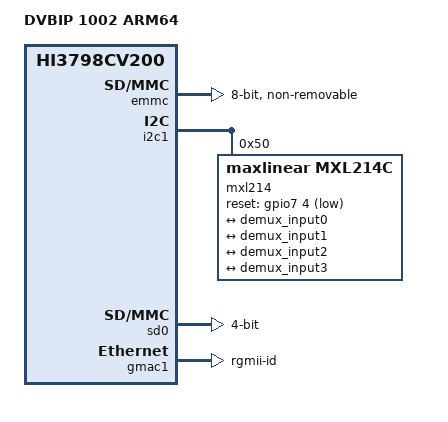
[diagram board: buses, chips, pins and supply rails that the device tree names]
// SPDX-License-Identifier: GPL-2.0-only
/*
 * Device Tree Source for HiSilicon Hi3798CV200 DVBIP-1002 board.
 *
 * Copyright (c) 2026 HiSilicon Technologies Co., Ltd.
 */

/dts-v1/;

#include "hi3798cv200-dvbip.dtsi"

/ {
	model = "DVBIP 1002 ARM64";
	compatible = "dvbip,1002", "hisilicon,hi3798cv200";

	aliases {
		mmc1 = &sd0;
	};

	chosen {
		bootargs = "console=tty0 console=ttyAMA0,115200n8 earlycon=pl011,mmio32,0xf8b00000,115200n8 root=/dev/mmcblk0p5 rootfstype=ext4 rootwait rw blkdevparts=mmcblk0:4M(fastboot),4M(bootargs),4M(hwconfig),16M(kernel),-(rootfs) mem=2G loglevel=7 clk_ignore_unused fw_devlink=off dvbip.model=1002";
		stdout-path = "serial0:115200n8";
	};


	ip1002_cpu_opp_table: opp-table-cpu {
		compatible = "operating-points-v2";
		opp-shared;

		opp-400000000 {
			opp-hz = /bits/ 64 <400000000>;
			/* Safe transition voltage, board floor, safety ceiling. */
			opp-microvolt = <1000000 840000 1000000>;
			clock-latency-ns = <110000000>;
		};

		opp-600000000 {
			opp-hz = /bits/ 64 <600000000>;
			opp-microvolt = <1000000 840000 1000000>;
			clock-latency-ns = <110000000>;
		};

		opp-800000000 {
			opp-hz = /bits/ 64 <800000000>;
			opp-microvolt = <1000000 805000 1000000>;
			clock-latency-ns = <110000000>;
		};

		opp-1200000000 {
			opp-hz = /bits/ 64 <1200000000>;
			opp-microvolt = <1050000 900000 1050000>;
			clock-latency-ns = <110000000>;
		};
	};

};

&soc {
	cpu-avs@8a23078 {
		compatible = "hisilicon,hi3798cv200-avs";
		reg = <0x8a23078 0x10>, <0x8a23368 0x4>;
		reg-names = "hpm", "control";
		hisilicon,hpm-targets = <400000000 0xc9 0>,
					 <600000000 0xc9 0>,
					 <800000000 0xe5 1>,
					 <1200000000 0x110 1>;
	};
};

&cpu0 {
	cpu-supply = <&vdd_cpu>;
	operating-points-v2 = <&ip1002_cpu_opp_table>;
	#cooling-cells = <2>;
};

&cpu1 {
	cpu-supply = <&vdd_cpu>;
	operating-points-v2 = <&ip1002_cpu_opp_table>;
};

&cpu2 {
	cpu-supply = <&vdd_cpu>;
	operating-points-v2 = <&ip1002_cpu_opp_table>;
};

&cpu3 {
	cpu-supply = <&vdd_cpu>;
	operating-points-v2 = <&ip1002_cpu_opp_table>;
};

&dvbip_cooling_maps {
	map-cpu {
		trip = <&soc_passive>;
		cooling-device = <&cpu0 THERMAL_NO_LIMIT THERMAL_NO_LIMIT>;
	};
};

&dvbip_sound {
	simple-audio-card,name = "DVBIP-1002";
};

&sci0 {
	/* Original runtime and card-present tests use active-high detection. */
	hisilicon,card-detect-active-high;
};

&pmx0 {
	/* CV200 BSP timing policy at the board's proven 1.8 V I/O voltage. */
	ip1002_emmc_default_pins: ip1002-emmc-default-pins {
		pinctrl-single,pins = <
			0x000 MUX_M0
			0x004 MUX_M0
			0x008 MUX_M0
			0x00c MUX_M0
			0x010 MUX_M0
			0x014 MUX_M0
			0x018 MUX_M0
			0x01c MUX_M0
			0x024 MUX_M0
			0x028 MUX_M0
		>;
		pinctrl-single,bias-pulldown = <
			PINCTRL_PULLDOWN(0, 1, 0, 1)
		>;
		pinctrl-single,bias-pullup = <
			PINCTRL_PULLUP(0, 1, 0, 1)
		>;
		pinctrl-single,slew-rate = <PINCTRL_SLEW_RATE(1, 1)>;
		pinctrl-single,drive-strength = <PINCTRL_DRV_STRENGTH(0xd, 0xf)>;
	};

	ip1002_emmc_hs200_data_cmd_pins: ip1002-emmc-hs200-data-cmd-pins {
		pinctrl-single,pins = <
			0x000 MUX_M0
			0x004 MUX_M0
			0x008 MUX_M0
			0x00c MUX_M0
			0x010 MUX_M0
			0x014 MUX_M0
			0x018 MUX_M0
			0x01c MUX_M0
			0x024 MUX_M0
		>;
		pinctrl-single,bias-pulldown = <
			PINCTRL_PULLDOWN(0, 1, 0, 1)
		>;
		pinctrl-single,bias-pullup = <
			PINCTRL_PULLUP(0, 1, 0, 1)
		>;
		pinctrl-single,slew-rate = <PINCTRL_SLEW_RATE(1, 1)>;
		pinctrl-single,drive-strength = <PINCTRL_DRV_STRENGTH(0xb, 0xf)>;
	};

	ip1002_emmc_hs200_clk_pin: ip1002-emmc-hs200-clk-pin {
		pinctrl-single,pins = <0x028 MUX_M0>;
		pinctrl-single,bias-pulldown = <
			PINCTRL_PULLDOWN(0, 1, 0, 1)
		>;
		pinctrl-single,bias-pullup = <
			PINCTRL_PULLUP(0, 1, 0, 1)
		>;
		pinctrl-single,slew-rate = <PINCTRL_SLEW_RATE(0, 1)>;
		pinctrl-single,drive-strength = <PINCTRL_DRV_STRENGTH(0x9, 0xf)>;
	};

	ip1002_emmc_hs400_pins: ip1002-emmc-hs400-pins {
		pinctrl-single,pins = <
			0x000 MUX_M0
			0x004 MUX_M0
			0x008 MUX_M0
			0x00c MUX_M0
			0x010 MUX_M0
			0x014 MUX_M0
			0x018 MUX_M0
			0x01c MUX_M0
			0x024 MUX_M0
			0x028 MUX_M0
		>;
		pinctrl-single,bias-pulldown = <
			PINCTRL_PULLDOWN(0, 1, 0, 1)
		>;
		pinctrl-single,bias-pullup = <
			PINCTRL_PULLUP(0, 1, 0, 1)
		>;
		pinctrl-single,slew-rate = <PINCTRL_SLEW_RATE(0, 1)>;
		pinctrl-single,drive-strength = <PINCTRL_DRV_STRENGTH(0x9, 0xf)>;
	};

	ip1002_emmc_reset_pin: ip1002-emmc-reset-pin {
		pinctrl-single,pins = <0x02c MUX_M0>;
		pinctrl-single,bias-pulldown = <
			PINCTRL_PULLDOWN(0, 1, 0, 1)
		>;
		pinctrl-single,bias-pullup = <
			PINCTRL_PULLUP(0, 1, 0, 1)
		>;
		pinctrl-single,slew-rate = <PINCTRL_SLEW_RATE(1, 1)>;
		pinctrl-single,drive-strength = <PINCTRL_DRV_STRENGTH(0x3, 0xf)>;
	};

	ip1002_emmc_strobe_pin: ip1002-emmc-strobe-pin {
		pinctrl-single,pins = <0x030 MUX_M2>;
		pinctrl-single,bias-pulldown = <
			PINCTRL_PULLDOWN(1, 1, 0, 1)
		>;
		pinctrl-single,bias-pullup = <
			PINCTRL_PULLUP(0, 1, 0, 1)
		>;
		pinctrl-single,slew-rate = <PINCTRL_SLEW_RATE(1, 1)>;
		pinctrl-single,drive-strength = <PINCTRL_DRV_STRENGTH(0x3, 0xf)>;
	};

	ip1002_i2c1_pins: ip1002-i2c1-pins {
		pinctrl-single,pins = <
			0x0e0 MUX_M2 /* I2C1_SDA, pin 56 */
			0x0e4 MUX_M2 /* I2C1_SCL, pin 57 */
		>;
	};

	ip1002_mxl214_reset_pin: ip1002-mxl214-reset-pin {
		pinctrl-single,pins = <
			0x0c8 MUX_M0 /* GPIO7_4, MxL214 reset, pin 50 */
		>;
	};

	ip1002_tsi_pins: ip1002-tsi-pins {
		pinctrl-single,pins = <
			0x0b4 MUX_M0 /* Unused TSI3-B_VALID, pin 45 */
			0x0b8 MUX_M0 /* Unused TSI3-B_D0, pin 46 */
			0x0bc MUX_M0 /* Unused TSI3-B_CLK, pin 47 */
			0x0cc MUX_M2 /* TSI3_VALID, pin 51 */
			0x0d0 MUX_M2 /* TSI3_D0, pin 52 */
			0x0d4 MUX_M2 /* TSI2_VALID, pin 53 */
			0x0d8 MUX_M2 /* TSI2_D0, pin 54 */
			0x0dc MUX_M2 /* TSI2_CLK, pin 55 */
			0x0e8 MUX_M2 /* TSI1_VALID, pin 58 */
			0x0ec MUX_M2 /* TSI1_CLK, pin 59 */
			0x0f0 MUX_M2 /* TSI1_D0, pin 60 */
			0x0f4 MUX_M2 /* TSI0_VALID, pin 61 */
			0x0f8 MUX_M2 /* TSI0_D0, pin 62 */
			0x0fc MUX_M2 /* TSI0_CLK, pin 63 */
		>;
	};

	sd0_pins: sd0-pins {
		pinctrl-single,pins = <
			0x158 MUX_M1 /* SDIO0_CARD_POWER_EN, pin 86 */
			0x160 MUX_M1 /* SDIO0_CDATA1, pin 88 */
			0x164 MUX_M1 /* SDIO0_CDATA0, pin 89 */
			0x168 MUX_M1 /* SDIO0_CCLK_OUT, pin 90 */
			0x16c MUX_M1 /* SDIO0_CCMD, pin 91 */
			0x170 MUX_M1 /* SDIO0_CDATA3, pin 92 */
			0x174 MUX_M1 /* SDIO0_CDATA2, pin 93 */
			0x178 MUX_M1 /* SDIO0_CARD_DETECT, pin 94 */
		>;
	};
};

&emmc {
	pinctrl-names = "default", "hs200", "hs400";
	pinctrl-0 = <&ip1002_emmc_default_pins
		     &ip1002_emmc_reset_pin &ip1002_emmc_strobe_pin>;
	pinctrl-1 = <&ip1002_emmc_hs200_data_cmd_pins
		     &ip1002_emmc_hs200_clk_pin
		     &ip1002_emmc_reset_pin &ip1002_emmc_strobe_pin>;
	pinctrl-2 = <&ip1002_emmc_hs400_pins
		     &ip1002_emmc_reset_pin &ip1002_emmc_strobe_pin>;
	hisilicon,io-voltage-reg = <&sysctrl 0xf4>;
	hisilicon,hs400-strobe-reg = <&crg 0x290>;
	hisilicon,inherit-boot-tuning;
	clock-frequency = <100000000>;
	max-frequency = <150000000>;
	cap-mmc-highspeed;
	cap-mmc-hw-reset;
	mmc-ddr-1_8v;
	mmc-hs200-1_8v;
	mmc-hs400-1_8v;
	no-sd;
	no-sdio;
	non-removable;
	bus-width = <8>;
	status = "okay";
};

&demux {
	pinctrl-names = "default";
	pinctrl-0 = <&ip1002_tsi_pins>;
};

&dvbip_demux_input0 {
	hisilicon,cv200-legacy-ts-tuning;
	hisilicon,hardware-pid-filtering;
	port {
		demux_input0: endpoint {
			remote-endpoint = <&mxl214_output0>;
		};
	};
};

&dvbip_demux_input1 {
	hisilicon,cv200-legacy-ts-tuning;
	hisilicon,hardware-pid-filtering;
	port {
		demux_input1: endpoint {
			remote-endpoint = <&mxl214_output1>;
		};
	};
};

&dvbip_demux_input2 {
	hisilicon,cv200-legacy-ts-tuning;
	hisilicon,hardware-pid-filtering;
	port {
		demux_input2: endpoint {
			remote-endpoint = <&mxl214_output2>;
		};
	};
};

&dvbip_demux_input3 {
	hisilicon,cv200-legacy-ts-tuning;
	hisilicon,hardware-pid-filtering;
	port {
		demux_input3: endpoint {
			remote-endpoint = <&mxl214_output3>;
		};
	};
};

&i2c1 {
	pinctrl-names = "default";
	pinctrl-0 = <&ip1002_i2c1_pins>;
	status = "okay";

	mxl214: demodulator@50 {
		compatible = "maxlinear,mxl214c", "maxlinear,mxl214";
		reg = <0x50>;
		pinctrl-names = "default";
		pinctrl-0 = <&ip1002_mxl214_reset_pin>;
		reset-gpios = <&gpio7 4 GPIO_ACTIVE_LOW>;

		ports {
			#address-cells = <1>;
			#size-cells = <0>;

			port@0 {
				reg = <0>;

				mxl214_output0: endpoint {
					remote-endpoint = <&demux_input0>;
				};
			};

			port@1 {
				reg = <1>;

				mxl214_output1: endpoint {
					remote-endpoint = <&demux_input1>;
				};
			};

			port@2 {
				reg = <2>;

				mxl214_output2: endpoint {
					remote-endpoint = <&demux_input2>;
				};
			};

			port@3 {
				reg = <3>;

				mxl214_output3: endpoint {
					remote-endpoint = <&demux_input3>;
				};
			};
		};
	};
};

&sd0 {
	pinctrl-names = "default";
	pinctrl-0 = <&sd0_pins>;
	bus-width = <4>;
	cap-sd-highspeed;
	disable-wp;
	max-frequency = <50000000>;
	no-1-8-v;
	no-mmc;
	no-sdio;
	status = "okay";
};

&gmac1 {
	phy-mode = "rgmii-id";
	hisilicon,phy-reset-delays-us = <10000 20000 50000>;
};

&dvbip_phy3 {
	realtek,led-link-activity;
};

&ir {
	status = "disabled";
};
